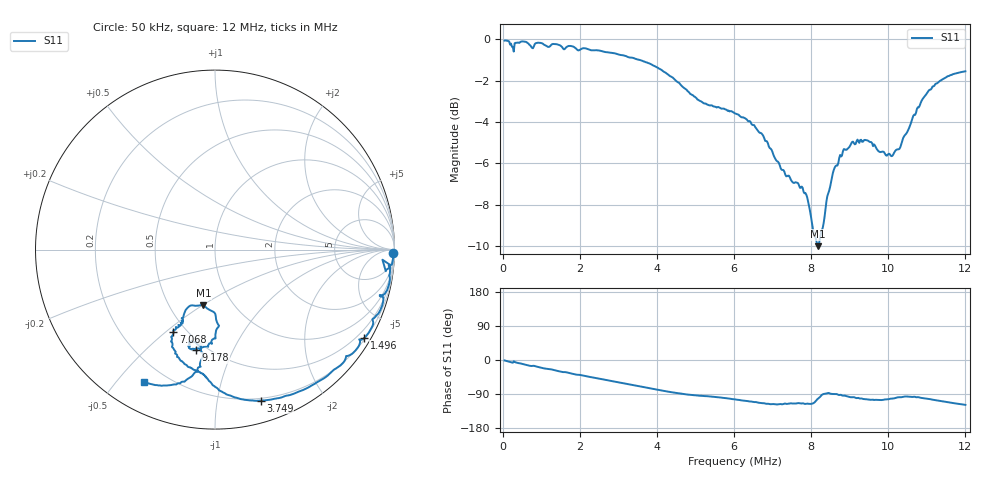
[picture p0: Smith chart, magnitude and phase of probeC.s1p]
# Hz S RI R 50
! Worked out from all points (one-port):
!   505 points, 50 kHz to 12 MHz, reference 50 ohm
!   lowest |S11| = -10.0 dB at 8.183 MHz (marker M1), VSWR 1.92, Z = 36.6 - j25.2 ohm
!   |S11| at or under -10 dB: 8.182504 MHz to 8.182539 MHz (35.87 Hz wide, 0.000438 % of centre)
!   S11 on the Smith chart (normalised r, x): 50 kHz: 27, -87; 1.496 MHz: 0.24, -3.64; 3.749 MHz: 0.18, -1.33; 7.068 MHz: 0.43, -0.53; 9.178 MHz: 0.44, -0.73; 12 MHz: 0.12, -0.59
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50000  0.9934 -0.0209
239600  0.9535 -0.1135
334500  0.9756 -0.1047
642700  0.952 -0.2359
903500  0.9336 -0.302
1496300  0.8321 -0.4918
1567400  0.8062 -0.5029
2112700  0.7111 -0.6336
3061110  0.4579 -0.7946
3748710  0.2541 -0.8417
4554810  0.0281 -0.7863
5100220  -0.0525 -0.7094
6024920  -0.1591 -0.6431
6688720  -0.238 -0.5446
7068120  -0.2314 -0.4599
7542330  -0.1897 -0.4079
7803130  -0.1783 -0.3893
7969130  -0.1677 -0.3466
8182530  -0.0643 -0.3096
8443330  0.0225 -0.4241
8775230  -0.0181 -0.5206
9036030  -0.0807 -0.5536
9178330  -0.1041 -0.558
9533930  -0.1462 -0.5456
1.007924e7  -0.1071 -0.511
1.052974e7  -0.0712 -0.6034
1.119364e7  -0.2059 -0.7445
1.199984e7  -0.3982 -0.7367
